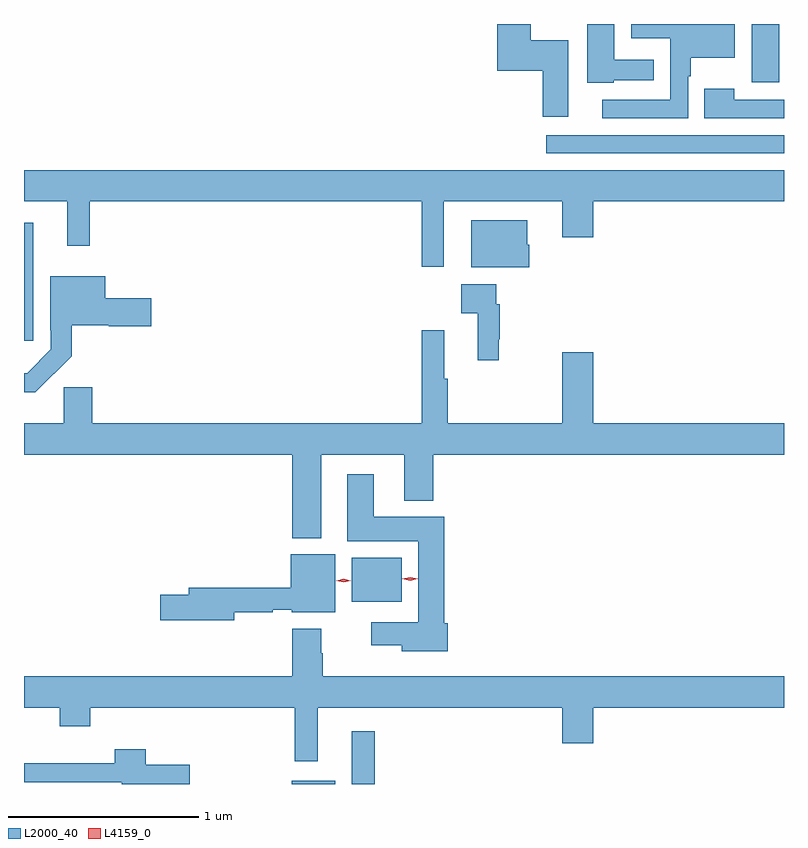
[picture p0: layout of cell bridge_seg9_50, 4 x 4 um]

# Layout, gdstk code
import gdstk
lib = gdstk.Library(unit=1e-6, precision=1e-09)
def R(c, l, rs):  # rectangles x0, y0, x1, y1
    for r in rs: c.add(gdstk.rectangle(r[:2], r[2:], *l))
def P(c, l, *ps):  # polygons
    for p in ps: c.add(gdstk.Polygon(p, *l))
L2000_40 = (2000, 40)
L4159_0 = (4159, 0)

bridge_seg9_50 = lib.new_cell('bridge_seg9_50')
R(bridge_seg9_50, L2000_40, [(906.842,1186.694,907.069,1186.711), (907.157,1186.694,907.279,1186.972), (907.157,1187.654,907.42,1187.884), (905.432,1189.028,905.481,1189.648), (908.181,1190.013,909.432,1190.109), (909.263,1190.388,909.406,1190.694)])
P(bridge_seg9_50, L2000_40, [(908.928,1190.42),(908.941,1190.42),(908.941,1190.516),(909.174,1190.516),(909.174,1190.694),(908.627,1190.694),(908.627,1190.619),(908.832,1190.619),(908.832,1190.295),(908.475,1190.295),(908.475,1190.199),(908.928,1190.199)],
  [(908.296,1190.608),(908.1,1190.608),(908.1,1190.694),(907.922,1190.694),(907.922,1190.447),(908.162,1190.447),(908.162,1190.205),(908.296,1190.205)],
  [(908.535,1190.399),(908.746,1190.399),(908.746,1190.506),(908.539,1190.506),(908.539,1190.694),(908.396,1190.694),(908.396,1190.384),(908.535,1190.384)],
  [(909.432,1190.295),(909.17,1190.295),(909.17,1190.353),(909.013,1190.353),(909.013,1190.199),(909.432,1190.199)],
  [(907.642,1189.76),(908.264,1189.76),(908.264,1189.572),(908.428,1189.572),(908.428,1189.76),(909.432,1189.76),(909.432,1189.924),(905.432,1189.924),(905.432,1189.76),(905.66,1189.76),(905.66,1189.527),(905.777,1189.527),(905.777,1189.76),(907.525,1189.76),(907.525,1189.416),(907.642,1189.416)],
  [(908.092,1189.533),(908.08,1189.533),(908.08,1189.66),(907.787,1189.66),(907.787,1189.415),(908.092,1189.415)],
  [(905.683,1188.946),(905.683,1189.108),(905.877,1189.108),(905.877,1189.103),(906.103,1189.103),(906.103,1189.25),(905.86,1189.25),(905.86,1189.366),(905.571,1189.366),(905.571,1189.081),(905.574,1189.081),(905.574,1188.981),(905.449,1188.856),(905.432,1188.856),(905.432,1188.756),(905.492,1188.756)],
  [(907.93,1189.036),(907.937,1189.036),(907.937,1189.22),(907.917,1189.22),(907.917,1189.324),(907.734,1189.324),(907.734,1189.172),(907.82,1189.172),(907.82,1188.924),(907.93,1188.924)],
  [(906.997,1188.428),(907.433,1188.428),(907.433,1188.185),(907.586,1188.185),(907.586,1188.428),(909.432,1188.428),(909.432,1188.592),(908.428,1188.592),(908.428,1188.967),(908.264,1188.967),(908.264,1188.592),(907.661,1188.592),(907.661,1188.828),(907.643,1188.828),(907.643,1189.081),(907.525,1189.081),(907.525,1188.592),(905.792,1188.592),(905.792,1188.783),(905.641,1188.783),(905.641,1188.592),(905.432,1188.592),(905.432,1188.428),(906.845,1188.428),(906.845,1187.987),(906.997,1187.987)],
  [(907.661,1187.541),(907.643,1187.541),(907.643,1188.1),(907.273,1188.1),(907.273,1188.325),(907.133,1188.325),(907.133,1187.972),(907.508,1187.972),(907.508,1187.545),(907.26,1187.545),(907.26,1187.423),(907.421,1187.423),(907.421,1187.393),(907.661,1187.393)],
  [(906.538,1187.598),(906.74,1187.598),(906.74,1187.61),(906.84,1187.61),(906.84,1187.597),(907.069,1187.597),(907.069,1187.902),(906.836,1187.902),(906.836,1187.726),(906.299,1187.726),(906.299,1187.69),(906.15,1187.69),(906.15,1187.555),(906.538,1187.555)],
  [(906.979,1187.096),(908.264,1187.096),(908.264,1186.908),(908.428,1186.908),(908.428,1187.096),(909.432,1187.096),(909.432,1187.26),(907.005,1187.26),(907.005,1187.381),(906.997,1187.381),(906.997,1187.512),(906.845,1187.512),(906.845,1187.26),(905.432,1187.26),(905.432,1187.096),(905.62,1187.096),(905.62,1186.997),(905.78,1186.997),(905.78,1187.096),(906.858,1187.096),(906.858,1186.815),(906.979,1186.815)],
  [(906.305,1186.795),(906.074,1186.795),(906.074,1186.876),(905.909,1186.876),(905.909,1186.802),(905.432,1186.802),(905.432,1186.704),(905.728,1186.704),(905.728,1186.703),(905.946,1186.703),(905.946,1186.694),(906.305,1186.694)])
P(bridge_seg9_50, L4159_0, [(907.464,1187.763),(907.424,1187.773),(907.423,1187.773),(907.424,1187.773),(907.464,1187.783),(907.505,1187.773),(907.506,1187.773),(907.505,1187.773)],
  [(907.114,1187.755),(907.075,1187.765),(907.075,1187.765),(907.075,1187.765),(907.114,1187.775),(907.152,1187.765),(907.152,1187.765),(907.152,1187.765)])

lib.write_gds('bridge_seg9_50.gds')
